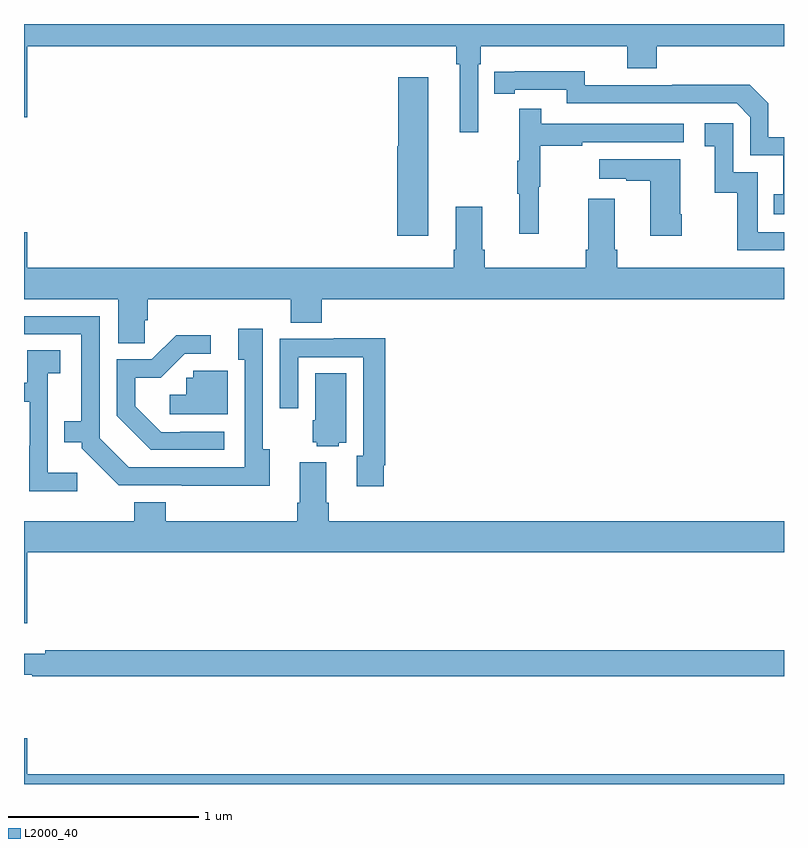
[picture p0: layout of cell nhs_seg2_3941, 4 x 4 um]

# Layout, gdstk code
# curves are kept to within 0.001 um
import gdstk
lib = gdstk.Library(unit=1e-6, precision=1e-09)
def P(c, l, *ps):  # polygons
    for p in ps: c.add(gdstk.Polygon(p, *l))
L2000_40 = (2000, 40)

nhs_seg2_3941 = lib.new_cell('nhs_seg2_3941')
P(nhs_seg2_3941, L2000_40, [(323.391,599.588),(323.405,599.588),(323.405,599.684),(324.176,599.684),(324.176,599.567),(324.329,599.567),(324.329,599.684),(325,599.684),(325,599.8),(321,599.8),(321,599.31),(321.016,599.31),(321.016,599.684),(323.275,599.684),(323.275,599.588),(323.294,599.588),(323.294,599.229),(323.391,599.229)],
  [(325,599.205),(324.918,599.205),(324.918,599.382),(324.82,599.48),(324.412,599.48),(324.412,599.478),(323.952,599.478),(323.952,599.551),(323.476,599.55),(323.476,599.434),(323.584,599.434),(323.584,599.454),(323.856,599.454),(323.856,599.382),(324.75,599.382),(324.822,599.31),(324.822,599.109),(324.995,599.109),(324.995,598.905),(324.946,598.905),(324.946,598.8),(325,598.8)],
  [(323.128,599.521),(322.97,599.521),(322.97,599.157),(322.964,599.157),(322.964,598.686),(323.128,598.686)],
  [(323.708,598.944),(323.716,598.944),(323.716,599.158),(323.939,599.158),(323.939,599.178),(324.472,599.178),(324.472,599.274),(323.723,599.274),(323.723,599.353),(323.606,599.353),(323.606,599.081),(323.595,599.081),(323.595,598.907),(323.606,598.907),(323.606,598.695),(323.708,598.695)],
  [(325,598.704),(324.861,598.704),(324.861,599.019),(324.732,599.019),(324.732,599.278),(324.582,599.278),(324.582,599.157),(324.635,599.157),(324.635,598.911),(324.753,598.911),(324.753,598.608),(325,598.608)],
  [(324.462,598.798),(324.454,598.798),(324.454,599.089),(324.027,599.089),(324.027,598.985),(324.17,598.985),(324.17,598.975),(324.296,598.975),(324.296,598.686),(324.462,598.686)],
  [(321.635,598.242),(321.65,598.242),(321.65,598.352),(322.403,598.352),(322.403,598.228),(322.568,598.228),(322.568,598.352),(325,598.352),(325,598.516),(324.122,598.516),(324.122,598.612),(324.109,598.612),(324.109,598.879),(323.969,598.879),(323.969,598.612),(323.957,598.612),(323.957,598.516),(323.426,598.516),(323.426,598.612),(323.413,598.612),(323.413,598.837),(323.273,598.837),(323.273,598.612),(323.261,598.612),(323.261,598.516),(321.016,598.516),(321.016,598.705),(321,598.705),(321,598.352),(321.497,598.352),(321.497,598.12),(321.635,598.12)],
  [(322.294,597.562),(322.257,597.562),(322.257,598.195),(322.127,598.195),(322.127,598.034),(322.161,598.034),(322.161,597.468),(321.552,597.468),(321.399,597.621),(321.399,598.263),(321,598.263),(321,598.167),(321.302,598.167),(321.302,597.709),(321.211,597.709),(321.211,597.599),(321.303,597.599),(321.303,597.567),(321.498,597.372),(322.294,597.371)],
  [(322.054,597.654),(321.823,597.654),(321.823,597.651),(321.723,597.651),(321.586,597.788),(321.586,597.938),(321.719,597.938),(321.846,598.065),(321.982,598.065),(321.982,598.163),(321.8,598.163),(321.672,598.035),(321.489,598.035),(321.489,597.737),(321.668,597.558),(322.054,597.558)],
  [(322.894,597.478),(322.901,597.478),(322.901,598.147),(322.631,598.147),(322.631,598.143),(322.347,598.143),(322.347,597.777),(322.443,597.777),(322.443,598.047),(322.785,598.047),(322.785,597.527),(322.751,597.527),(322.751,597.366),(322.894,597.366)],
  [(321.28,597.439),(321.126,597.439),(321.126,597.961),(321.19,597.961),(321.19,598.082),(321.018,598.082),(321.018,597.912),(321,597.912),(321,597.813),(321.03,597.813),(321.03,597.581),(321.028,597.581),(321.028,597.341),(321.28,597.341)],
  [(322.072,597.975),(321.891,597.975),(321.891,597.939),(321.855,597.939),(321.855,597.85),(321.768,597.85),(321.768,597.747),(322.072,597.747)],
  [(322.656,597.596),(322.696,597.596),(322.696,597.962),(322.532,597.962),(322.532,597.714),(322.52,597.714),(322.52,597.6),(322.542,597.6),(322.542,597.578),(322.656,597.578)],
  [(321.016,597.02),(325,597.02),(325,597.184),(322.604,597.184),(322.604,597.28),(322.591,597.28),(322.591,597.493),(322.451,597.493),(322.451,597.28),(322.439,597.28),(322.439,597.184),(321.746,597.184),(321.746,597.283),(321.581,597.283),(321.581,597.184),(321,597.184),(321,596.646),(321.016,596.646)],
  [(325,596.504),(321.112,596.504),(321.112,596.485),(321,596.485),(321,596.376),(321.044,596.376),(321.044,596.368),(325,596.368)],
  [(325,595.852),(321.016,595.852),(321.016,596.041),(321,596.041),(321,595.8),(325,595.8)])

lib.write_gds('nhs_seg2_3941.gds')
